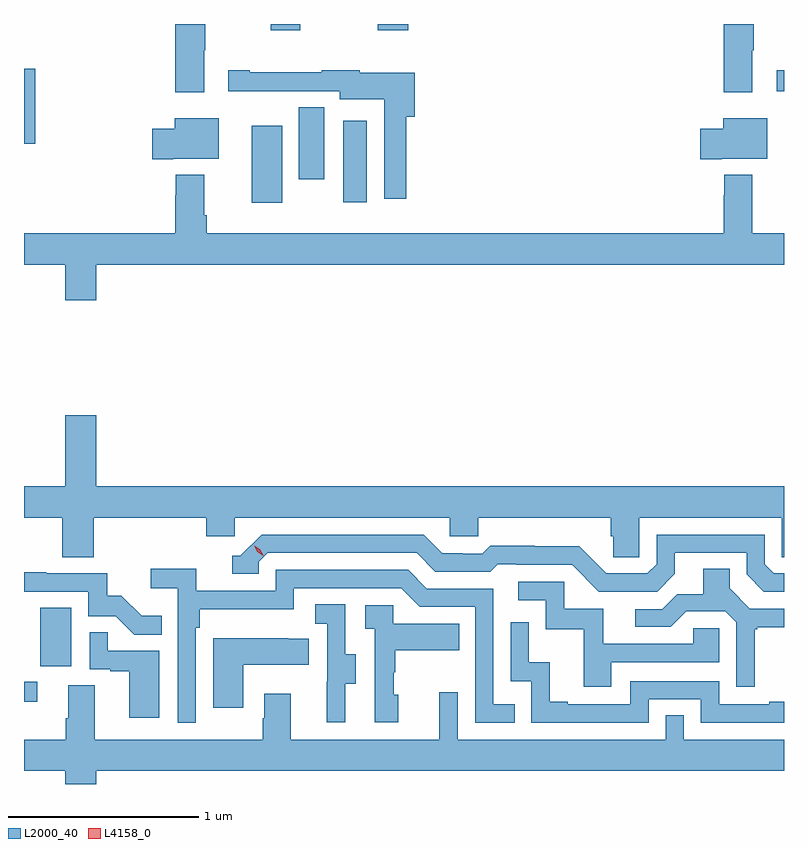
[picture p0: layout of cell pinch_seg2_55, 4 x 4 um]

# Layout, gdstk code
import gdstk
lib = gdstk.Library(unit=1e-6, precision=1e-09)
def R(c, l, rs):  # rectangles x0, y0, x1, y1
    for r in rs: c.add(gdstk.rectangle(r[:2], r[2:], *l))
def P(c, l, *ps):  # polygons
    for p in ps: c.add(gdstk.Polygon(p, *l))
L2000_40 = (2000, 40)
L4158_0 = (4158, 0)

pinch_seg2_55 = lib.new_cell('pinch_seg2_55')
R(pinch_seg2_55, L2000_40, [(1027.927,662.652,1027.996,662.757), (1028.012,662.838,1028.176,663.145), (1029.125,665.277,1029.286,665.683), (1029.608,665.28,1029.73,665.71), (1029.374,665.4,1029.508,665.78), (1027.927,665.589,1027.985,665.983), (1031.889,665.864,1031.927,665.974), (1029.226,666.185,1029.381,666.218), (1029.79,666.185,1029.95,666.218)])
P(pinch_seg2_55, L2000_40, [(1031.761,666.08),(1031.769,666.08),(1031.769,666.218),(1031.609,666.218),(1031.609,665.859),(1031.761,665.859)],
  [(1028.875,666.08),(1028.882,666.08),(1028.882,666.218),(1028.723,666.218),(1028.723,665.859),(1028.875,665.859)],
  [(1029.938,665.729),(1029.983,665.729),(1029.983,665.962),(1029.694,665.962),(1029.694,665.974),(1029.494,665.974),(1029.494,665.964),(1029.115,665.964),(1029.115,665.974),(1029.003,665.974),(1029.003,665.864),(1029.278,665.864),(1029.278,665.865),(1029.59,665.865),(1029.59,665.822),(1029.822,665.822),(1029.822,665.298),(1029.938,665.298)],
  [(1031.599,665.51),(1031.839,665.51),(1031.839,665.722),(1031.606,665.722),(1031.606,665.668),(1031.487,665.668),(1031.487,665.505),(1031.599,665.505)],
  [(1028.713,665.51),(1028.953,665.51),(1028.953,665.722),(1028.72,665.722),(1028.72,665.668),(1028.601,665.668),(1028.601,665.505),(1028.713,665.505)],
  [(1028.308,664.952),(1031.927,664.952),(1031.927,665.116),(1031.761,665.116),(1031.761,665.425),(1031.612,665.425),(1031.612,665.318),(1031.609,665.318),(1031.609,665.116),(1028.888,665.116),(1028.888,665.212),(1028.875,665.212),(1028.875,665.425),(1028.726,665.425),(1028.726,665.318),(1028.723,665.318),(1028.723,665.116),(1027.927,665.116),(1027.927,664.952),(1028.144,664.952),(1028.144,664.764),(1028.308,664.764)],
  [(1028.294,663.62),(1028.885,663.62),(1028.885,663.522),(1029.036,663.522),(1029.036,663.62),(1030.167,663.62),(1030.167,663.522),(1030.317,663.522),(1030.317,663.62),(1031.015,663.62),(1031.015,663.522),(1031.029,663.522),(1031.029,663.412),(1031.166,663.412),(1031.166,663.62),(1031.916,663.62),(1031.916,663.412),(1031.927,663.412),(1031.927,663.784),(1028.308,663.784),(1028.308,664.159),(1028.144,664.159),(1028.144,663.784),(1027.927,663.784),(1027.927,663.62),(1028.129,663.62),(1028.129,663.412),(1028.294,663.412)],
  [(1031.353,663.325),(1031.353,663.435),(1031.73,663.435),(1031.73,663.321),(1031.82,663.231),(1031.927,663.231),(1031.927,663.327),(1031.874,663.327),(1031.826,663.375),(1031.826,663.531),(1031.256,663.531),(1031.256,663.375),(1031.208,663.327),(1030.992,663.327),(1030.85,663.469),(1030.614,663.469),(1030.614,663.472),(1030.381,663.472),(1030.339,663.429),(1030.236,663.429),(1030.236,663.432),(1030.129,663.432),(1030.03,663.531),(1029.177,663.531),(1029.066,663.42),(1029.023,663.42),(1029.023,663.324),(1029.162,663.324),(1029.162,663.387),(1029.21,663.435),(1029.993,663.435),(1030.092,663.336),(1030.381,663.336),(1030.42,663.375),(1030.519,663.375),(1030.519,663.372),(1030.812,663.372),(1030.953,663.231),(1031.259,663.231)],
  [(1031.773,663.033),(1031.785,663.033),(1031.785,663.044),(1031.927,663.044),(1031.927,663.141),(1031.748,663.141),(1031.641,663.248),(1031.641,663.35),(1031.501,663.35),(1031.501,663.218),(1031.366,663.218),(1031.286,663.138),(1031.145,663.138),(1031.145,663.045),(1031.332,663.045),(1031.413,663.126),(1031.619,663.126),(1031.676,663.069),(1031.676,662.73),(1031.773,662.73)],
  [(1028.832,663.041),(1028.852,663.041),(1028.852,663.137),(1029.348,663.137),(1029.348,663.249),(1029.912,663.249),(1030.011,663.15),(1030.302,663.15),(1030.302,662.541),(1030.511,662.541),(1030.511,662.637),(1030.398,662.637),(1030.398,663.246),(1030.048,663.246),(1029.949,663.345),(1029.252,663.345),(1029.252,663.234),(1028.834,663.234),(1028.834,663.35),(1028.595,663.35),(1028.595,663.248),(1028.736,663.248),(1028.736,662.541),(1028.832,662.541)],
  [(1028.651,663.103),(1028.547,663.103),(1028.44,663.21),(1028.364,663.21),(1028.364,663.327),(1028.045,663.327),(1028.045,663.332),(1027.927,663.332),(1027.927,663.231),(1028.265,663.231),(1028.265,663.102),(1028.409,663.102),(1028.507,663.004),(1028.651,663.004)],
  [(1031.017,662.859),(1031.586,662.859),(1031.586,663.039),(1031.449,663.039),(1031.449,662.955),(1030.975,662.955),(1030.975,663.141),(1030.77,663.141),(1030.77,663.282),(1030.527,663.282),(1030.527,663.186),(1030.674,663.186),(1030.674,663.033),(1030.873,663.033),(1030.873,662.73),(1031.017,662.73)],
  [(1029.619,662.746),(1029.673,662.746),(1029.673,662.901),(1029.618,662.901),(1029.618,663.164),(1029.459,663.164),(1029.459,663.061),(1029.522,663.061),(1029.522,662.757),(1029.521,662.757),(1029.521,662.544),(1029.619,662.544)],
  [(1029.898,662.688),(1029.873,662.688),(1029.873,662.807),(1029.882,662.807),(1029.882,662.921),(1030.217,662.921),(1030.217,663.061),(1029.87,663.061),(1029.87,663.159),(1029.723,663.159),(1029.723,663.035),(1029.774,663.035),(1029.774,662.544),(1029.898,662.544)],
  [(1031.214,662.664),(1031.49,662.664),(1031.49,662.541),(1031.927,662.541),(1031.927,662.65),(1031.849,662.65),(1031.849,662.637),(1031.586,662.637),(1031.586,662.76),(1031.118,662.76),(1031.118,662.637),(1030.789,662.637),(1030.789,662.65),(1030.694,662.65),(1030.694,662.858),(1030.584,662.858),(1030.584,663.07),(1030.488,663.07),(1030.488,662.76),(1030.596,662.76),(1030.596,662.541),(1031.214,662.541)],
  [(1028.638,662.919),(1028.369,662.919),(1028.369,663.017),(1028.274,663.017),(1028.274,662.823),(1028.381,662.823),(1028.381,662.811),(1028.48,662.811),(1028.48,662.568),(1028.638,662.568)],
  [(1029.082,662.846),(1029.425,662.846),(1029.425,662.983),(1029.317,662.983),(1029.317,662.986),(1028.924,662.986),(1028.924,662.619),(1029.082,662.619)],
  [(1028.308,662.288),(1031.927,662.288),(1031.927,662.452),(1031.4,662.452),(1031.4,662.579),(1031.304,662.579),(1031.304,662.452),(1030.209,662.452),(1030.209,662.701),(1030.112,662.701),(1030.112,662.452),(1029.331,662.452),(1029.331,662.692),(1029.191,662.692),(1029.191,662.564),(1029.184,662.564),(1029.184,662.452),(1028.299,662.452),(1028.299,662.738),(1028.159,662.738),(1028.159,662.564),(1028.147,662.564),(1028.147,662.452),(1027.927,662.452),(1027.927,662.288),(1028.144,662.288),(1028.144,662.218),(1028.308,662.218)])
P(pinch_seg2_55, L4158_0, [(1029.185,663.42),(1029.154,663.44),(1029.138,663.472),(1029.138,663.473),(1029.138,663.473),(1029.169,663.453),(1029.185,663.421),(1029.185,663.42)])

lib.write_gds('pinch_seg2_55.gds')
